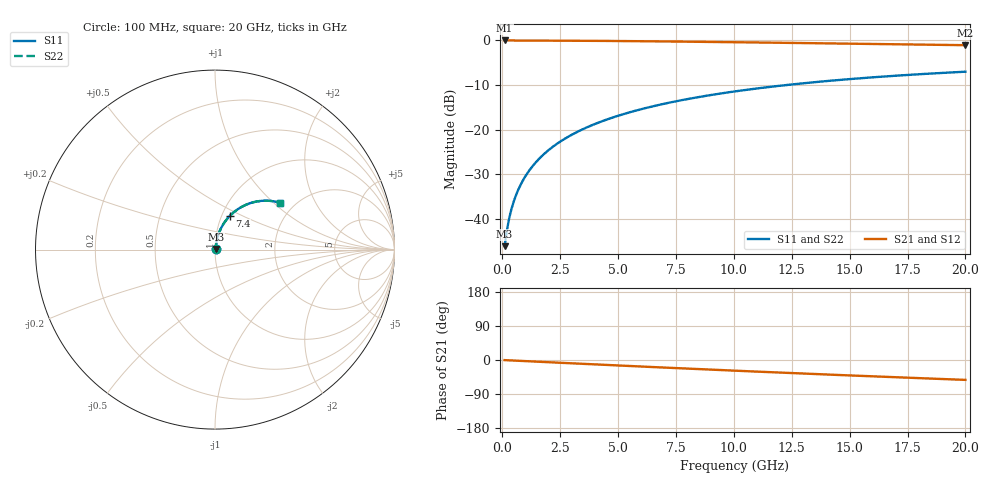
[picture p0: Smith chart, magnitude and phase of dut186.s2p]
! Touchstone file exported from HFSS 2026.1.0
!  File:  C:/ffzhzh/LocalFiles/Ansys_Project_Files/temp_train_TMRDL_186_1782983726_45328.aedt
!  Generated:  05:16:48 PM Jul  2, 2026
!  Design:  TMRDL
!  Project:  temp_train_TMRDL_186_1782983726_45328
! Variables:
!  h_bsmrdl = 2um
!  h_ox = 20um
!  h_rdl = 5um
!  h_sub = 80um
!  h_tmrdl = 4um
!  h_tsv = 80um
!  h_via = 3um
!  l_bsmrdl = 300um
!  l_sub = 1208.14um
!  l_tmrdl = 808.14um
!  m_sub = 200um
!  pitch = 45.11um
!  r_tsv = 6um
!  s_tmrdl = 10um
!  w_bsmrdl = 18um
!  w_sub = 500um
!  w_tmrdl = 19.78um
!  x_tsv_center1 = 818.03um
!  x_tsv_center2 = 1136.03um
!  x_tsv_center3 = 1963.95um
!  x_tsv_center4 = 2281.95um
!  x_tsv_center5 = 3109.87um
!  x_tsv_center6 = 3427.87um
# GHz S MA R 50.000000
! Terminal data exported
! Port[1] = TM_RDL1_1_T1
! Port[2] = TM_RDL1_1_T2
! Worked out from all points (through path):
!   200 points, 100 MHz to 20 GHz, reference 50 ohm
!   highest |S21| = -0.03 dB at 100 MHz (marker M1); lowest = -1.1 dB at 20 GHz (marker M2)
!   group delay of S21, straight-line fit = 7.29 ps
!   lowest |S11| = -46.1 dB at 100 MHz (marker M3), VSWR 1.01, Z = 50.4 + j0.323 ohm
!   |S11| at or under -10 dB: start of sweep to 12.29 GHz
!   |S22| runs from -46.1 to -7.0 dB; largest |S21 - S12| = 3.2e-15
!   S11 on the Smith chart (normalised r, x): 100 MHz: 1.01, +0.01; 7.4 GHz: 1.09, +0.43; 20 GHz: 1.68, +1.09
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0.1  0.004963 40.3  0.9962 -0.3  0.9962 -0.3  0.004963 40.3
! Gamma 0 0 0 0
! Port Impedance 50 0 50 0
0.2  0.007482 57.5  0.996 -0.6  0.996 -0.6  0.007482 57.5
0.3  0.01024 65.2  0.9958 -0.9  0.9958 -0.9  0.01024 65.2
0.4  0.01304 69.5  0.9956 -1.2  0.9956 -1.2  0.01304 69.5
0.5  0.01585 72.3  0.9955 -1.5  0.9955 -1.5  0.01585 72.3
0.6  0.01868 74.2  0.9953 -1.8  0.9953 -1.8  0.01868 74.2
0.8  0.02439 76.6  0.9951 -2.4  0.9951 -2.4  0.02439 76.6
1.1  0.03303 78.4  0.9947 -3.2  0.9947 -3.2  0.03303 78.4
1.3  0.03882 78.9  0.9944 -3.8  0.9944 -3.8  0.03882 78.9
1.6  0.0475 79.2  0.9938 -4.7  0.9938 -4.7  0.0475 79.2
2.1  0.06194 78.9  0.9927 -6.2  0.9927 -6.2  0.06194 78.9
2.7  0.07914 77.9  0.9911 -7.9  0.9911 -7.9  0.07914 77.9
3.5  0.1018 76.2  0.9884 -10.2  0.9884 -10.2  0.1018 76.2
4.2  0.1212 74.5  0.9857 -12.2  0.9857 -12.2  0.1212 74.5
5  0.143 72.5  0.9821 -14.4  0.9821 -14.4  0.143 72.5
6.8  0.1901 67.8  0.9727 -19.5  0.9727 -19.5  0.1901 67.8
7.4  0.2052 66.2  0.9692 -21.1  0.9692 -21.1  0.2052 66.2
8.7  0.2368 62.9  0.9612 -24.6  0.9612 -24.6  0.2368 62.9
10.1  0.2692 59.3  0.952 -28.3  0.952 -28.3  0.2692 59.3
13.4  0.3383 51.2  0.9287 -36.8  0.9287 -36.8  0.3383 51.2
16.7  0.3969 43.4  0.9048 -44.8  0.9048 -44.8  0.3969 43.3
20  0.4452 35.9  0.8821 -52.5  0.8821 -52.5  0.4452 35.9
